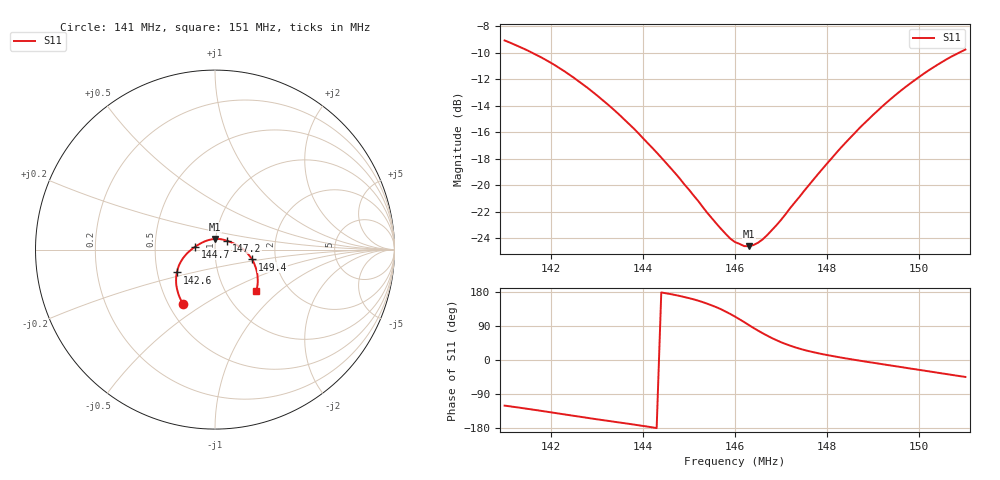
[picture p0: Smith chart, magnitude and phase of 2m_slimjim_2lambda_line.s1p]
# HZ S RI R 50
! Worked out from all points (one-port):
!   101 points, 141 MHz to 151 MHz, reference 50 ohm
!   lowest |S11| = -24.6 dB at 146.3 MHz (marker M1), VSWR 1.13, Z = 49.4 + j5.84 ohm
!   |S11| at or under -10 dB: 141.6 MHz to 150.9 MHz (9.258 MHz wide, 6.33 % of centre)
!   S11 on the Smith chart (normalised r, x): 141 MHz: 0.59, -0.41; 142.6 MHz: 0.63, -0.17; 144.7 MHz: 0.80, +0.03; 147.2 MHz: 1.13, +0.11; 149.4 MHz: 1.51, -0.17; 151 MHz: 1.39, -0.71
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1.41e8  -0.1779 -0.3038
1.417e8  -0.2093 -0.2284
1.42e8  -0.2157 -0.1941
1.423e8  -0.2166 -0.1599
1.426e8  -0.2122 -0.1272
1.43e8  -0.2006 -0.0875
1.435e8  -0.1778 -0.0473
1.439e8  -0.156 -0.0215
1.447e8  -0.11 0.0164
1.448e8  -0.1042 0.0201
1.456e8  -0.0541 0.0468
1.459e8  -0.0327 0.0537
1.46e8  -0.0253 0.0556
1.462e8  -0.0103 0.0581
1.463e8  -0.00234 0.0589
1.464e8  0.00551 0.0593
1.466e8  0.0207 0.059
1.469e8  0.0433 0.0559
1.472e8  0.0649 0.0503
1.473e8  0.0718 0.0478
1.479e8  0.1113 0.0306
1.485e8  0.151 0.00621
1.49e8  0.1832 -0.0234
1.494e8  0.206 -0.0546
1.498e8  0.2237 -0.0924
1.504e8  0.2377 -0.158
1.507e8  0.2373 -0.1936
1.51e8  0.2312 -0.229
